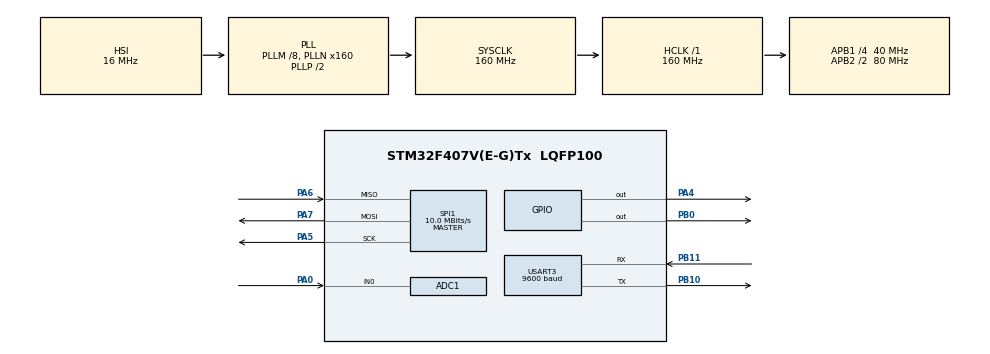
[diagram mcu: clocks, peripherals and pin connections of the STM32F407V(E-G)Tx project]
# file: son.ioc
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ADC1.Channel-0\#ChannelRegularConversion=ADC_CHANNEL_0
ADC1.ContinuousConvMode=ENABLE
ADC1.NbrOfConversionFlag=1
ADC1.Rank-0\#ChannelRegularConversion=1
ADC1.SamplingTime-0\#ChannelRegularConversion=ADC_SAMPLETIME_480CYCLES
ADC1.master=1
Mcu.Family=STM32F4
Mcu.Name=STM32F407V(E-G)Tx
Mcu.Package=LQFP100
NVIC.PriorityGroup=NVIC_PRIORITYGROUP_4
NVIC.RCC_IRQn=true\:0\:0\:false\:false\:true\:true\:false
NVIC.USART3_IRQn=true\:0\:0\:false\:false\:true\:true\:true
PA0-WKUP.Signal=ADCx_IN0
PA13.Mode=Serial_Wire
PA13.Signal=SYS_JTMS-SWDIO
PA14.Mode=Serial_Wire
PA14.Signal=SYS_JTCK-SWCLK
PA4.Signal=GPIO_Output
PA5.Mode=Full_Duplex_Master
PA5.Signal=SPI1_SCK
PA6.Mode=Full_Duplex_Master
PA6.Signal=SPI1_MISO
PA7.Mode=Full_Duplex_Master
PA7.Signal=SPI1_MOSI
PB0.Signal=GPIO_Output
PB10.Mode=Asynchronous
PB10.Signal=USART3_TX
PB11.Mode=Asynchronous
PB11.Signal=USART3_RX
PH0-OSC_IN.Mode=HSE-External-Oscillator
PH0-OSC_IN.Signal=RCC_OSC_IN
PH1-OSC_OUT.Mode=HSE-External-Oscillator
PH1-OSC_OUT.Signal=RCC_OSC_OUT
ProjectManager.HeapSize=0x200
ProjectManager.StackSize=0x400
ProjectManager.TargetToolchain=MDK-ARM V5.27
RCC.48MHZClocksFreq_Value=80000000
RCC.AHBFreq_Value=160000000
RCC.APB1CLKDivider=RCC_HCLK_DIV4
RCC.APB1Freq_Value=40000000
RCC.APB1TimFreq_Value=80000000
RCC.APB2CLKDivider=RCC_HCLK_DIV2
RCC.APB2Freq_Value=80000000
RCC.APB2TimFreq_Value=160000000
RCC.CortexFreq_Value=160000000
RCC.HCLKFreq_Value=160000000
RCC.HSE_VALUE=25000000
RCC.HSI_VALUE=16000000
RCC.LSE_VALUE=32768
RCC.PLLM=8
RCC.PLLN=160
RCC.SYSCLKFreq_VALUE=160000000
RCC.SYSCLKSource=RCC_SYSCLKSOURCE_PLLCLK
RCC.VCOOutputFreq_Value=320000000
SH.ADCx_IN0.0=ADC1_IN0,IN0
SPI1.BaudRatePrescaler=SPI_BAUDRATEPRESCALER_8
SPI1.CalculateBaudRate=10.0 MBits/s
SPI1.Direction=SPI_DIRECTION_2LINES
SPI1.Mode=SPI_MODE_MASTER
SPI1.VirtualType=VM_MASTER
USART3.BaudRate=9600
USART3.VirtualMode=VM_ASYNC
board=custom

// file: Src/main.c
/* USER CODE BEGIN Header */
/**
  ******************************************************************************
  * @file           : main.c
  * @brief          : Main program body
  ******************************************************************************
  * @attention
  *
  * <h2><center>&copy; Copyright (c) 2021 STMicroelectronics.
  * All rights reserved.</center></h2>
  *
  * This software component is licensed by ST under BSD 3-Clause license,
  * the "License"; You may not use this file except in compliance with the
  * License. You may obtain a copy of the License at:
  *                        opensource.org/licenses/BSD-3-Clause
  *
  ******************************************************************************

	pa0->adc

	pc5->modbus transmit enable pin

  */
/* USER CODE END Header */

#include "main.h"

/* USER CODE BEGIN Includes */
#include <stdio.h>
#include <stdlib.h>
#include <string.h>
#include <stdint.h>
#include <stdbool.h>
#include "MFRC522.h"
#include "delay.h"
/* USER CODE END Includes */

/* USER CODE BEGIN PTD */
#define MAX_LEN 16
/* USER CODE END PTD */

/* USER CODE BEGIN PM */
uint32_t adcVal;
float temp;
char buff_TX[10];
uint8_t rx_Data;
typedef unsigned char BYTE;
uint8_t Tx_data[1] = {0};
uint8_t Tx_data1[1] = {1};
bool yasak1 = 0;
bool yasak2 = 0;
bool yasak3 = 0;
uint8_t cevdetflag = 0;
char str1[17]={'\0'};
char str2[17]={'\0'};
char str3[17]={'\0'};
char str4[17]={'\0'};
char tmp_str[65]={'\0'};
/* USER CODE END PM */

ADC_HandleTypeDef hadc1;

SPI_HandleTypeDef hspi1;

UART_HandleTypeDef huart3;

/* USER CODE BEGIN PV */
GPIO_InitTypeDef gpio_init;
void Adc_okumasi(void);

/* USER CODE END PV */

void SystemClock_Config(void);
static void MX_GPIO_Init(void);
static void MX_ADC1_Init(void);
static void MX_USART3_UART_Init(void);
static void MX_SPI1_Init(void);
/* USER CODE BEGIN PFP */
void yasaklar(void);
/* USER CODE END PFP */

/* USER CODE BEGIN 0 */
void string2ByteArray(char* input, BYTE* output)
{
    int loop;
    int i;
    loop = 0;
    i = 0;
    while(input[loop] != '\0')
    {
        output[i++] = input[loop++];
    }
}
void Adc_okumasi(void){

		HAL_ADC_Start(&hadc1);
		HAL_ADC_PollForConversion(&hadc1,5);
		adcVal = HAL_ADC_GetValue(&hadc1);
		temp = adcVal*0.06;
}
void yasaklar(void){
	if(yasak1 == 1){
			HAL_GPIO_WritePin(GPIOB,GPIO_PIN_0,GPIO_PIN_RESET);
			HAL_Delay(5000);
			HAL_GPIO_WritePin(GPIOB,GPIO_PIN_0,GPIO_PIN_SET);
			yasak1 = 0;
	}
	if(yasak2 == 1){
			HAL_GPIO_WritePin(GPIOB,GPIO_PIN_0,GPIO_PIN_RESET);
			yasak2 = 0;
	}
	if(yasak3 == 1){
			HAL_GPIO_WritePin(GPIOB,GPIO_PIN_0,GPIO_PIN_SET);
			yasak3 = 0;
	}
}
/* USER CODE END 0 */

int main(void)
{

  /* MCU Configuration--------------------------------------------------------*/

  /* Reset of all peripherals, Initializes the Flash interface and the Systick. */
  HAL_Init();

  /* Configure the system clock */
  SystemClock_Config();

  /* Initialize all configured peripherals */
  MX_GPIO_Init();
  MX_ADC1_Init();
  MX_USART3_UART_Init();
  MX_SPI1_Init();
  /* USER CODE BEGIN 2 */

	MFRC522_Init();
  DWT_Delay_ms(1000);
  char status, cardstr[MAX_LEN+1];
  char card_data[17];
  uint32_t delay_val = 1000; //ms
  uint16_t result = 0;
  char UID[5];
  // a private key to scramble data writing/reading to/from RFID card:
  char Mx1[7][5]={{0x12,0x45,0xF2,0xA8},{0xB2,0x6C,0x39,0x83},{0x55,0xE5,0xDA,0x18},
		  	  	  	{0x1F,0x09,0xCA,0x75},{0x99,0xA2,0x50,0xEC},{0x2C,0x88,0x7F,0x3D}};
  char SectorKey[7];

  status = Read_MFRC522(0x37);
  sprintf(str1,"Running RC522");
  sprintf(str2,"ver:%x", status);
  /* USER CODE END 2 */

  /* Infinite loop */
  /* USER CODE BEGIN WHILE */
  while (1)
  {
		Adc_okumasi();

		sprintf(buff_TX,"%.2f C",temp);
		int len = strlen(buff_TX);
		BYTE arr[len];
		string2ByteArray(buff_TX, arr);
		HAL_UART_Transmit_IT(&huart3, (uint8_t*) arr, sizeof(arr));
		HAL_Delay(1000);

//---------------------------------------------
	  status = 0;
	  status = MFRC522_Request(PICC_REQIDL, cardstr);
	  if(status == MI_OK) {

				cevdetflag = 1;
		}
		if (cevdetflag == 1){

					if (temp >= 60){																		// SICAKLIK 40'I GECERSE MOTORU CALISTIR
							yasak1 = 1;
					}
					HAL_UART_Receive_IT(&huart3, &rx_Data,1);
					if(rx_Data == 'a'){																	//MOTORU CALISTIR
							yasak2 = 1;
							rx_Data = 0;
					}
					if(rx_Data == 'b'){																	//MOTORU DURDUR
							yasak3 = 1;
							rx_Data = 0;
					}
					yasaklar();
		}
	}
    /* USER CODE END WHILE */

}

void SystemClock_Config(void)
{
  RCC_OscInitTypeDef RCC_OscInitStruct = {0};
  RCC_ClkInitTypeDef RCC_ClkInitStruct = {0};

  /** Configure the main internal regulator output voltage
  */
  __HAL_RCC_PWR_CLK_ENABLE();
  __HAL_PWR_VOLTAGESCALING_CONFIG(PWR_REGULATOR_VOLTAGE_SCALE1);
  /** Initializes the CPU, AHB and APB busses clocks
  */
  RCC_OscInitStruct.OscillatorType = RCC_OSCILLATORTYPE_HSI;
  RCC_OscInitStruct.HSIState = RCC_HSI_ON;
  RCC_OscInitStruct.HSICalibrationValue = RCC_HSICALIBRATION_DEFAULT;
  RCC_OscInitStruct.PLL.PLLState = RCC_PLL_ON;
  RCC_OscInitStruct.PLL.PLLSource = RCC_PLLSOURCE_HSI;
  RCC_OscInitStruct.PLL.PLLM = 8;
  RCC_OscInitStruct.PLL.PLLN = 160;
  RCC_OscInitStruct.PLL.PLLP = RCC_PLLP_DIV2;
  RCC_OscInitStruct.PLL.PLLQ = 4;
  if (HAL_RCC_OscConfig(&RCC_OscInitStruct) != HAL_OK)
  {
    Error_Handler();
  }
  /** Initializes the CPU, AHB and APB busses clocks
  */
  RCC_ClkInitStruct.ClockType = RCC_CLOCKTYPE_HCLK|RCC_CLOCKTYPE_SYSCLK
                              |RCC_CLOCKTYPE_PCLK1|RCC_CLOCKTYPE_PCLK2;
  RCC_ClkInitStruct.SYSCLKSource = RCC_SYSCLKSOURCE_PLLCLK;
  RCC_ClkInitStruct.AHBCLKDivider = RCC_SYSCLK_DIV1;
  RCC_ClkInitStruct.APB1CLKDivider = RCC_HCLK_DIV4;
  RCC_ClkInitStruct.APB2CLKDivider = RCC_HCLK_DIV2;

  if (HAL_RCC_ClockConfig(&RCC_ClkInitStruct, FLASH_LATENCY_5) != HAL_OK)
  {
    Error_Handler();
  }
}

static void MX_ADC1_Init(void)
{

  ADC_ChannelConfTypeDef sConfig = {0};

  /** Configure the global features of the ADC (Clock, Resolution, Data Alignment and number of conversion)
  */
  hadc1.Instance = ADC1;
  hadc1.Init.ClockPrescaler = ADC_CLOCK_SYNC_PCLK_DIV4;
  hadc1.Init.Resolution = ADC_RESOLUTION_12B;
  hadc1.Init.ScanConvMode = DISABLE;
  hadc1.Init.ContinuousConvMode = ENABLE;
  hadc1.Init.DiscontinuousConvMode = DISABLE;
  hadc1.Init.ExternalTrigConvEdge = ADC_EXTERNALTRIGCONVEDGE_NONE;
  hadc1.Init.ExternalTrigConv = ADC_SOFTWARE_START;
  hadc1.Init.DataAlign = ADC_DATAALIGN_RIGHT;
  hadc1.Init.NbrOfConversion = 1;
  hadc1.Init.DMAContinuousRequests = DISABLE;
  hadc1.Init.EOCSelection = ADC_EOC_SINGLE_CONV;
  if (HAL_ADC_Init(&hadc1) != HAL_OK)
  {
    Error_Handler();
  }
  /** Configure for the selected ADC regular channel its corresponding rank in the sequencer and its sample time.
  */
  sConfig.Channel = ADC_CHANNEL_0;
  sConfig.Rank = 1;
  sConfig.SamplingTime = ADC_SAMPLETIME_480CYCLES;
  if (HAL_ADC_ConfigChannel(&hadc1, &sConfig) != HAL_OK)
  {
    Error_Handler();
  }

}

static void MX_SPI1_Init(void)
{

  /* SPI1 parameter configuration*/
  hspi1.Instance = SPI1;
  hspi1.Init.Mode = SPI_MODE_MASTER;
  hspi1.Init.Direction = SPI_DIRECTION_2LINES;
  hspi1.Init.DataSize = SPI_DATASIZE_8BIT;
  hspi1.Init.CLKPolarity = SPI_POLARITY_LOW;
  hspi1.Init.CLKPhase = SPI_PHASE_1EDGE;
  hspi1.Init.NSS = SPI_NSS_SOFT;
  hspi1.Init.BaudRatePrescaler = SPI_BAUDRATEPRESCALER_8;
  hspi1.Init.FirstBit = SPI_FIRSTBIT_MSB;
  hspi1.Init.TIMode = SPI_TIMODE_DISABLE;
  hspi1.Init.CRCCalculation = SPI_CRCCALCULATION_DISABLE;
  hspi1.Init.CRCPolynomial = 10;
  if (HAL_SPI_Init(&hspi1) != HAL_OK)
  {
    Error_Handler();
  }

}

static void MX_USART3_UART_Init(void)
{

  huart3.Instance = USART3;
  huart3.Init.BaudRate = 9600;
  huart3.Init.WordLength = UART_WORDLENGTH_8B;
  huart3.Init.StopBits = UART_STOPBITS_1;
  huart3.Init.Parity = UART_PARITY_NONE;
  huart3.Init.Mode = UART_MODE_TX_RX;
  huart3.Init.HwFlowCtl = UART_HWCONTROL_NONE;
  huart3.Init.OverSampling = UART_OVERSAMPLING_16;
  if (HAL_UART_Init(&huart3) != HAL_OK)
  {
    Error_Handler();
  }

}

static void MX_GPIO_Init(void)
{
  GPIO_InitTypeDef GPIO_InitStruct = {0};

  /* GPIO Ports Clock Enable */
  __HAL_RCC_GPIOH_CLK_ENABLE();
  __HAL_RCC_GPIOA_CLK_ENABLE();
  __HAL_RCC_GPIOB_CLK_ENABLE();
	__HAL_RCC_GPIOC_CLK_ENABLE();
  /*Configure GPIO pin Output Level */
  HAL_GPIO_WritePin(GPIOA, GPIO_PIN_4, GPIO_PIN_RESET);

  /*Configure GPIO pin Output Level */
  HAL_GPIO_WritePin(GPIOB, GPIO_PIN_0, GPIO_PIN_RESET);

  /*Configure GPIO pin : PA4 */
  GPIO_InitStruct.Pin = GPIO_PIN_4;
  GPIO_InitStruct.Mode = GPIO_MODE_OUTPUT_PP;
  GPIO_InitStruct.Pull = GPIO_NOPULL;
  GPIO_InitStruct.Speed = GPIO_SPEED_FREQ_LOW;
  HAL_GPIO_Init(GPIOA, &GPIO_InitStruct);

  /*Configure GPIO pin : PB0 */
  GPIO_InitStruct.Pin = GPIO_PIN_0;
  GPIO_InitStruct.Mode = GPIO_MODE_OUTPUT_PP;
  GPIO_InitStruct.Pull = GPIO_NOPULL;
  GPIO_InitStruct.Speed = GPIO_SPEED_FREQ_LOW;
  HAL_GPIO_Init(GPIOB, &GPIO_InitStruct);

	HAL_GPIO_WritePin(GPIOB,GPIO_PIN_0,GPIO_PIN_SET);
}

void Error_Handler(void)
{
}

/************************ (C) COPYRIGHT STMicroelectronics *****END OF FILE****/
